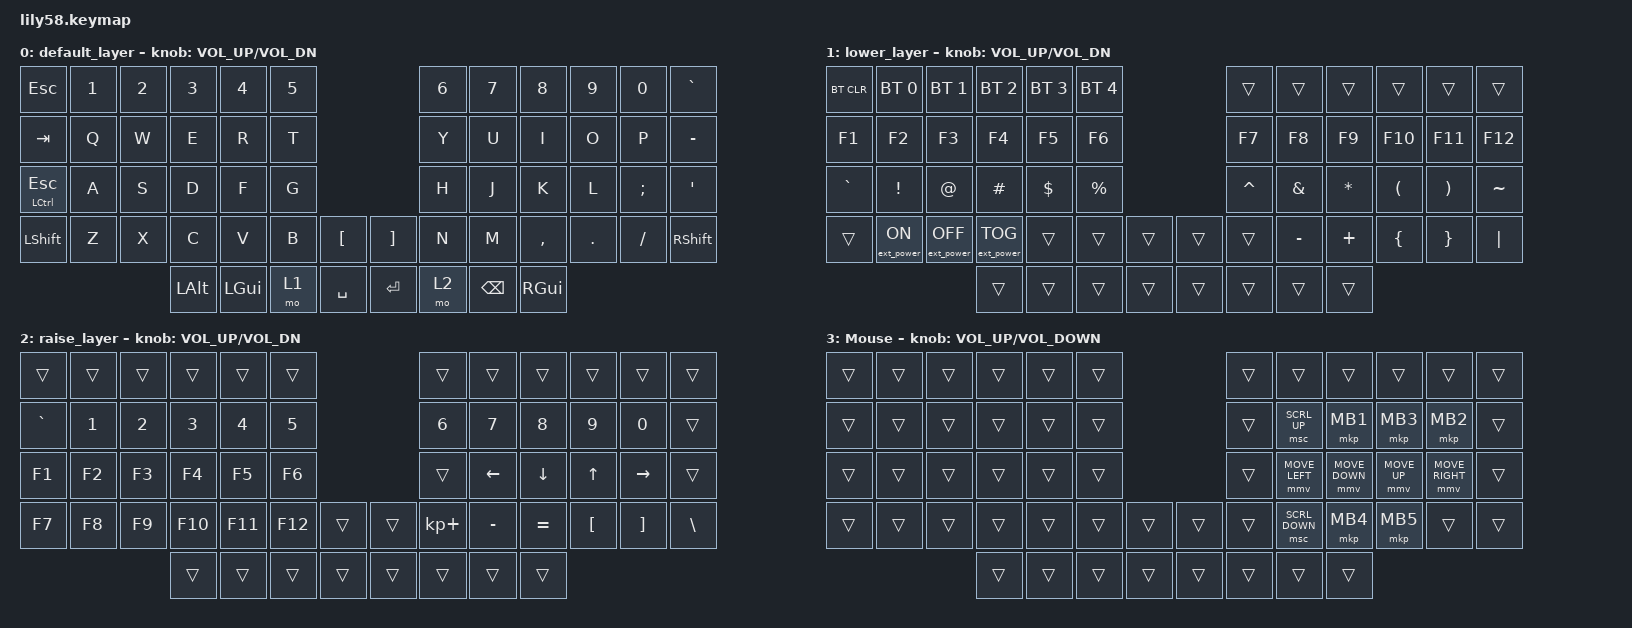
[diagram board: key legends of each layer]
/*
 * Copyright (c) 2020 The ZMK Contributors
 *
 * SPDX-License-Identifier: MIT
 */

#include <behaviors.dtsi>
#include <dt-bindings/zmk/bt.h>
#include <dt-bindings/zmk/ext_power.h>
#include <dt-bindings/zmk/keys.h>
#include <dt-bindings/zmk/pointing.h>

/ {
    combos {
        compatible = "zmk,combos";

        copy {
            bindings = <&kp K_COPY>;
            key-positions = <42 43>;
        };
    };

    keymap {
        compatible = "zmk,keymap";

        default_layer {
            // ------------------------------------------------------------------------------------------------------------
            // |  ESC  |  1  |  2  |  3   |  4   |  5   |                   |  6   |  7    |  8    |  9   |   0   |   `   |
            // |  TAB  |  Q  |  W  |  E   |  R   |  T   |                   |  Y   |  U    |  I    |  O   |   P   |   -   |
            // |  CTRL |  A  |  S  |  D   |  F   |  G   |                   |  H   |  J    |  K    |  L   |   ;   |   '   |
            // | SHIFT |  Z  |  X  |  C   |  V   |  B   |   "["  |  |  "]"  |  N   |  M    |  ,    |  .   |   /   | SHIFT |
            //                     | ALT  | GUI  | LOWER|  SPACE |  | ENTER | RAISE| BSPC  | GUI   |

            bindings = <
&kp ESC                  &kp N1  &kp N2  &kp N3    &kp N4    &kp N5                         &kp N6  &kp N7    &kp N8     &kp N9   &kp N0    &kp GRAVE
&kp TAB                  &kp Q   &kp W   &kp E     &kp R     &kp T                          &kp Y   &kp U     &kp I      &kp O    &kp P     &kp MINUS
&mt LEFT_CONTROL ESCAPE  &kp A   &kp S   &kp D     &kp F     &kp G                          &kp H   &kp J     &kp K      &kp L    &kp SEMI  &kp SQT
&kp LSHFT                &kp Z   &kp X   &kp C     &kp V     &kp B   &kp LBKT     &kp RBKT  &kp N   &kp M     &kp COMMA  &kp DOT  &kp FSLH  &kp RSHFT
                                         &kp LALT  &kp LGUI  &mo 1   &kp SPACE    &kp RET   &mo 2   &kp BSPC  &kp RGUI
            >;

            sensor-bindings = <&inc_dec_kp C_VOL_UP C_VOL_DN>;
        };

        lower_layer {
            // ------------------------------------------------------------------------------------------------------------
            // | BTCLR | BT1 | BT2 |  BT3 |  BT4 |  BT5 |                   |      |       |       |      |       |       |
            // |  F1   |  F2 |  F3 |  F4  |  F5  |  F6  |                   |  F7  |  F8   |  F9   |  F10 |  F11  |  F12  |
            // |   `   |  !  |  @  |  #   |  $   |  %   |                   |  ^   |  &    |  *    |  (   |   )   |   ~   |
            // |       |     |     |      |      |      |        |  |       |      |  _    |  +    |  {   |   }   |  "|"  |
            //                     |      |      |      |        |  |       |      |       |       |

            bindings = <
&bt BT_CLR  &bt BT_SEL 0      &bt BT_SEL 1       &bt BT_SEL 2       &bt BT_SEL 3  &bt BT_SEL 4                    &trans     &trans     &trans     &trans    &trans    &trans
&kp F1      &kp F2            &kp F3             &kp F4             &kp F5        &kp F6                          &kp F7     &kp F8     &kp F9     &kp F10   &kp F11   &kp F12
&kp GRAVE   &kp EXCL          &kp AT             &kp HASH           &kp DOLLAR    &kp PRCNT                       &kp CARET  &kp AMPS   &kp ASTRK  &kp LPAR  &kp RPAR  &kp TILDE
&trans      &ext_power EP_ON  &ext_power EP_OFF  &ext_power EP_TOG  &trans        &trans        &trans    &trans  &trans     &kp MINUS  &kp PLUS   &kp LBRC  &kp RBRC  &kp PIPE
                                                 &trans             &trans        &trans        &trans    &trans  &trans     &trans     &trans
            >;

            sensor-bindings = <&inc_dec_kp C_VOL_UP C_VOL_DN>;
        };

        raise_layer {
            // ------------------------------------------------------------------------------------------------------------
            // |       |     |     |      |      |      |                   |      |       |       |      |       |       |
            // |   `   |  1  |  2  |  3   |  4   |  5   |                   |  6   |   7   |   8   |  9   |   0   |       |
            // |   F1  |  F2 |  F3 |  F4  |  F5  |  F6  |                   |      |   <-  |   v   |  ^   |  ->   |       |
            // |   F7  |  F8 |  F9 |  F10 |  F11 |  F12 |        |  |       |  +   |   -   |   =   |  [   |   ]   |   \   |
            //                     |      |      |      |        |  |       |      |       |       |

            bindings = <
&trans     &trans  &trans  &trans   &trans   &trans                     &trans       &trans     &trans     &trans    &trans     &trans
&kp GRAVE  &kp N1  &kp N2  &kp N3   &kp N4   &kp N5                     &kp N6       &kp N7     &kp N8     &kp N9    &kp N0     &trans
&kp F1     &kp F2  &kp F3  &kp F4   &kp F5   &kp F6                     &trans       &kp LEFT   &kp DOWN   &kp UP    &kp RIGHT  &trans
&kp F7     &kp F8  &kp F9  &kp F10  &kp F11  &kp F12  &trans    &trans  &kp KP_PLUS  &kp MINUS  &kp EQUAL  &kp LBKT  &kp RBKT   &kp BSLH
                           &trans   &trans   &trans   &trans    &trans  &trans       &trans     &trans
            >;

            sensor-bindings = <&inc_dec_kp C_VOL_UP C_VOL_DN>;
        };

        Mouse {
            bindings = <
&trans  &trans  &trans  &trans  &trans  &trans                    &trans  &trans          &trans          &trans        &trans           &trans
&trans  &trans  &trans  &trans  &trans  &trans                    &trans  &msc SCRL_UP    &mkp MB1        &mkp MB3      &mkp MB2         &trans
&trans  &trans  &trans  &trans  &trans  &trans                    &trans  &mmv MOVE_LEFT  &mmv MOVE_DOWN  &mmv MOVE_UP  &mmv MOVE_RIGHT  &trans
&trans  &trans  &trans  &trans  &trans  &trans  &trans    &trans  &trans  &msc SCRL_DOWN  &mkp MB4        &mkp MB5      &trans           &trans
                        &trans  &trans  &trans  &trans    &trans  &trans  &trans          &trans
            >;

            sensor-bindings = <&inc_dec_kp C_VOLUME_UP C_VOLUME_DOWN>;
        };
    };

    conditional_layers {
        compatible = "zmk,conditional-layers";

        layer3 {
            if-layers = <1 2>;
            then-layer = <3>;
        };
    };
};
